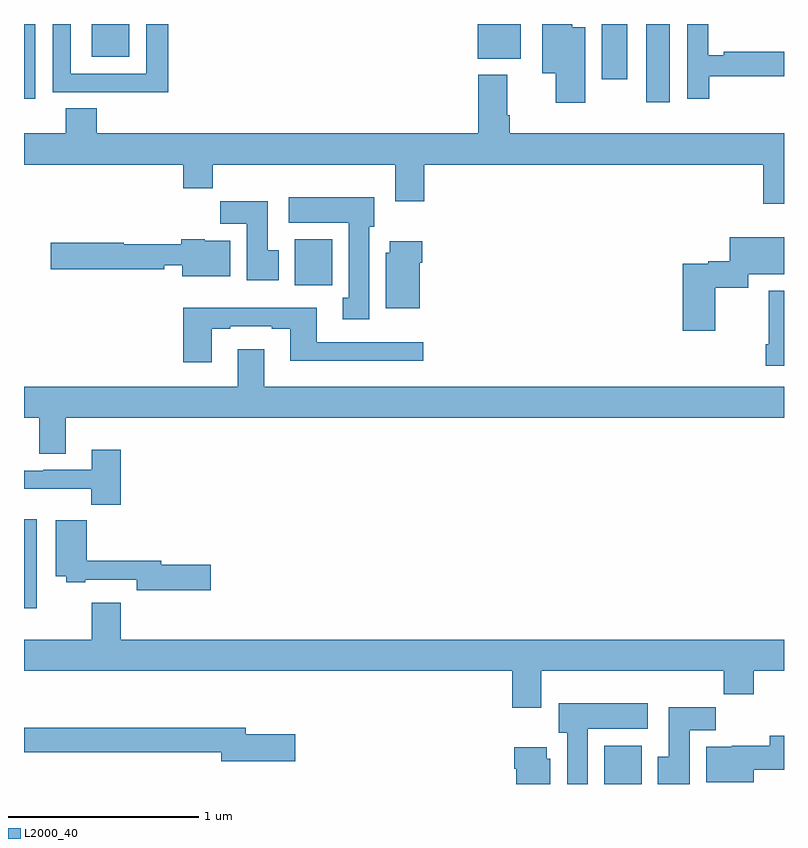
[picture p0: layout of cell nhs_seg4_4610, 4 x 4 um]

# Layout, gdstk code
import gdstk
lib = gdstk.Library(unit=1e-6, precision=1e-09)
def R(c, l, rs):  # rectangles x0, y0, x1, y1
    for r in rs: c.add(gdstk.rectangle(r[:2], r[2:], *l))
def P(c, l, *ps):  # polygons
    for p in ps: c.add(gdstk.Polygon(p, *l))
L2000_40 = (2000, 40)

nhs_seg4_4610 = lib.new_cell('nhs_seg4_4610')
R(nhs_seg4_4610, L2000_40, [(362.054,786.9,362.251,787.102), (359,787.824,359.068,788.293), (360.425,789.524,360.622,789.766), (362.276,790.488,362.398,790.9), (359,790.506,359.058,790.9), (362.042,790.608,362.176,790.9), (361.388,790.718,361.615,790.9), (359.357,790.727,359.554,790.9)])
P(nhs_seg4_4610, L2000_40, [(361.954,790.882),(361.885,790.882),(361.885,790.9),(361.727,790.9),(361.727,790.64),(361.799,790.64),(361.799,790.485),(361.954,790.485)],
  [(359.759,790.9),(359.643,790.9),(359.643,790.638),(359.247,790.638),(359.247,790.9),(359.151,790.9),(359.151,790.542),(359.467,790.542),(359.467,790.541),(359.759,790.541)],
  [(362.606,790.626),(363,790.626),(363,790.754),(362.683,790.754),(362.683,790.736),(362.602,790.736),(362.602,790.9),(362.49,790.9),(362.49,790.506),(362.606,790.506)],
  [(363,790.324),(361.556,790.324),(361.556,790.42),(361.543,790.42),(361.543,790.633),(361.391,790.633),(361.391,790.324),(359.384,790.324),(359.384,790.457),(359.219,790.457),(359.219,790.324),(359,790.324),(359,790.16),(359.837,790.16),(359.837,790.036),(359.993,790.036),(359.993,790.16),(360.953,790.16),(360.953,789.966),(361.106,789.966),(361.106,790.16),(362.891,790.16),(362.891,789.954),(363,789.954)],
  [(360.817,789.834),(360.844,789.834),(360.844,789.988),(360.393,789.988),(360.393,789.854),(360.71,789.854),(360.71,789.458),(360.677,789.458),(360.677,789.345),(360.817,789.345)],
  [(360.34,789.708),(360.283,789.708),(360.283,789.967),(360.034,789.967),(360.034,789.848),(360.173,789.848),(360.173,789.552),(360.34,789.552)],
  [(362.638,789.512),(362.811,789.512),(362.811,789.584),(363,789.584),(363,789.778),(362.715,789.778),(362.715,789.651),(362.601,789.651),(362.601,789.637),(362.468,789.637),(362.468,789.285),(362.638,789.285)],
  [(360.085,789.76),(359.952,789.76),(359.952,789.766),(359.827,789.766),(359.827,789.742),(359.526,789.742),(359.526,789.75),(359.142,789.75),(359.142,789.608),(359.738,789.608),(359.738,789.631),(359.834,789.631),(359.834,789.572),(360.085,789.572)],
  [(361.084,789.644),(361.097,789.644),(361.097,789.757),(360.926,789.757),(360.926,789.696),(360.905,789.696),(360.905,789.404),(361.084,789.404)],
  [(363,789.495),(362.92,789.495),(362.92,789.214),(362.905,789.214),(362.905,789.102),(363,789.102)],
  [(359.989,789.297),(360.085,789.297),(360.085,789.309),(360.305,789.309),(360.305,789.297),(360.401,789.297),(360.401,789.128),(361.102,789.128),(361.102,789.225),(360.541,789.225),(360.541,789.406),(359.837,789.406),(359.837,789.12),(359.989,789.12)],
  [(359.221,788.828),(363,788.828),(363,788.992),(360.265,788.992),(360.265,789.187),(360.125,789.187),(360.125,788.992),(359,788.992),(359,788.828),(359.081,788.828),(359.081,788.638),(359.221,788.638)],
  [(359.51,788.659),(359.357,788.659),(359.357,788.553),(359.101,788.553),(359.101,788.55),(359.002,788.55),(359,788.552),(359,788.454),(359.355,788.454),(359.355,788.369),(359.51,788.369)],
  [(359.983,788.054),(359.722,788.054),(359.722,788.075),(359.33,788.075),(359.33,788.287),(359.168,788.287),(359.168,787.994),(359.223,787.994),(359.223,787.962),(359.323,787.962),(359.323,787.974),(359.594,787.974),(359.594,787.919),(359.983,787.919)],
  [(361.723,787.496),(362.683,787.496),(362.683,787.372),(362.84,787.372),(362.84,787.496),(363,787.496),(363,787.66),(359.51,787.66),(359.51,787.855),(359.357,787.855),(359.357,787.66),(359,787.66),(359,787.496),(361.571,787.496),(361.571,787.302),(361.723,787.302)],
  [(361.966,787.19),(362.284,787.19),(362.284,787.324),(361.814,787.324),(361.814,787.17),(361.859,787.17),(361.859,786.9),(361.966,786.9)],
  [(362.503,787.184),(362.642,787.184),(362.642,787.303),(362.393,787.303),(362.393,787.044),(362.336,787.044),(362.336,786.9),(362.503,786.9)],
  [(360.427,787.161),(360.166,787.161),(360.166,787.195),(359,787.195),(359,787.066),(360.038,787.066),(360.038,787.019),(360.427,787.019)],
  [(362.842,786.974),(363,786.974),(363,787.153),(362.924,787.153),(362.924,787.102),(362.724,787.102),(362.724,787.096),(362.591,787.096),(362.591,786.908),(362.842,786.908)],
  [(361.771,787.032),(361.75,787.032),(361.75,787.093),(361.58,787.093),(361.58,786.98),(361.592,786.98),(361.592,786.9),(361.771,786.9)])

lib.write_gds('nhs_seg4_4610.gds')
